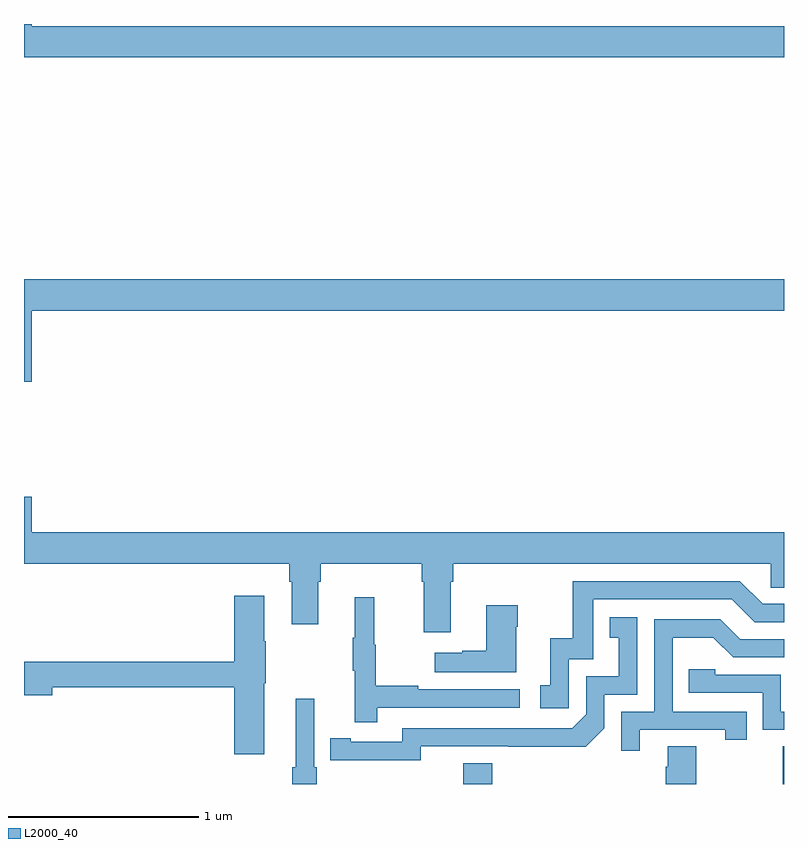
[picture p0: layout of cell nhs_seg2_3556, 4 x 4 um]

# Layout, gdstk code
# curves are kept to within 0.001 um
import gdstk
lib = gdstk.Library(unit=1e-6, precision=1e-09)
def R(c, l, rs):  # rectangles x0, y0, x1, y1
    for r in rs: c.add(gdstk.rectangle(r[:2], r[2:], *l))
def P(c, l, *ps):  # polygons
    for p in ps: c.add(gdstk.Polygon(p, *l))
L2000_40 = (2000, 40)

nhs_seg2_3556 = lib.new_cell('nhs_seg2_3556')
R(nhs_seg2_3556, L2000_40, [(299.312,655.8,299.465,655.909), (300.994,655.8,301,656)])
P(nhs_seg2_3556, L2000_40, [(301,659.788),(297.04,659.788),(297.04,659.8),(297,659.8),(297,659.624),(301,659.624)],
  [(297.04,658.292),(301,658.292),(301,658.456),(297,658.456),(297,657.918),(297.04,657.918)],
  [(299.245,656.864),(299.258,656.864),(299.258,656.96),(300.93,656.96),(300.93,656.833),(301,656.833),(301,657.124),(297.04,657.124),(297.04,657.313),(297,657.313),(297,656.96),(298.397,656.96),(298.397,656.864),(298.409,656.864),(298.409,656.64),(298.549,656.64),(298.549,656.864),(298.562,656.864),(298.562,656.96),(299.093,656.96),(299.093,656.864),(299.105,656.864),(299.105,656.598),(299.245,656.598)],
  [(299.868,656.457),(299.997,656.457),(299.997,656.772),(300.726,656.772),(300.846,656.652),(301,656.652),(301,656.748),(300.888,656.748),(300.768,656.868),(299.889,656.868),(299.889,656.566),(299.771,656.566),(299.771,656.319),(299.718,656.319),(299.718,656.199),(299.868,656.199)],
  [(298.264,656.331),(298.272,656.331),(298.272,656.552),(298.264,656.552),(298.264,656.791),(298.106,656.791),(298.106,656.444),(297,656.444),(297,656.266),(297.148,656.266),(297.148,656.308),(298.106,656.308),(298.106,655.956),(298.264,655.956)],
  [(298.859,656.202),(299.608,656.202),(299.608,656.298),(299.075,656.298),(299.075,656.318),(298.852,656.318),(298.852,656.532),(298.844,656.532),(298.844,656.782),(298.742,656.782),(298.742,656.569),(298.731,656.569),(298.731,656.395),(298.742,656.395),(298.742,656.124),(298.859,656.124)],
  [(299.59,656.627),(299.598,656.627),(299.598,656.74),(299.432,656.74),(299.432,656.501),(299.306,656.501),(299.306,656.491),(299.163,656.491),(299.163,656.387),(299.59,656.387)],
  [(299.088,655.998),(299.956,655.997),(300.054,656.094),(300.054,656.271),(300.228,656.271),(300.228,656.677),(300.082,656.677),(300.082,656.571),(300.131,656.571),(300.131,656.367),(299.958,656.367),(299.958,656.166),(299.886,656.094),(298.992,656.094),(298.992,656.022),(298.72,656.022),(298.72,656.042),(298.612,656.042),(298.612,655.926),(299.088,655.925)],
  [(300.241,656.085),(300.692,656.085),(300.692,656.034),(300.803,656.034),(300.803,656.181),(300.414,656.181),(300.414,656.57),(300.628,656.57),(300.732,656.466),(301,656.466),(301,656.562),(300.769,656.562),(300.664,656.667),(300.318,656.667),(300.318,656.181),(300.144,656.181),(300.144,655.974),(300.241,655.974)],
  [(301,656.181),(300.984,656.181),(300.984,656.376),(300.639,656.376),(300.639,656.403),(300.499,656.403),(300.499,656.28),(300.888,656.28),(300.888,656.085),(301,656.085)],
  [(298.541,655.888),(298.527,655.888),(298.527,656.248),(298.43,656.248),(298.43,655.888),(298.411,655.888),(298.411,655.8),(298.541,655.8)],
  [(300.537,656),(300.389,656),(300.389,655.89),(300.377,655.89),(300.377,655.8),(300.537,655.8)])

lib.write_gds('nhs_seg2_3556.gds')
